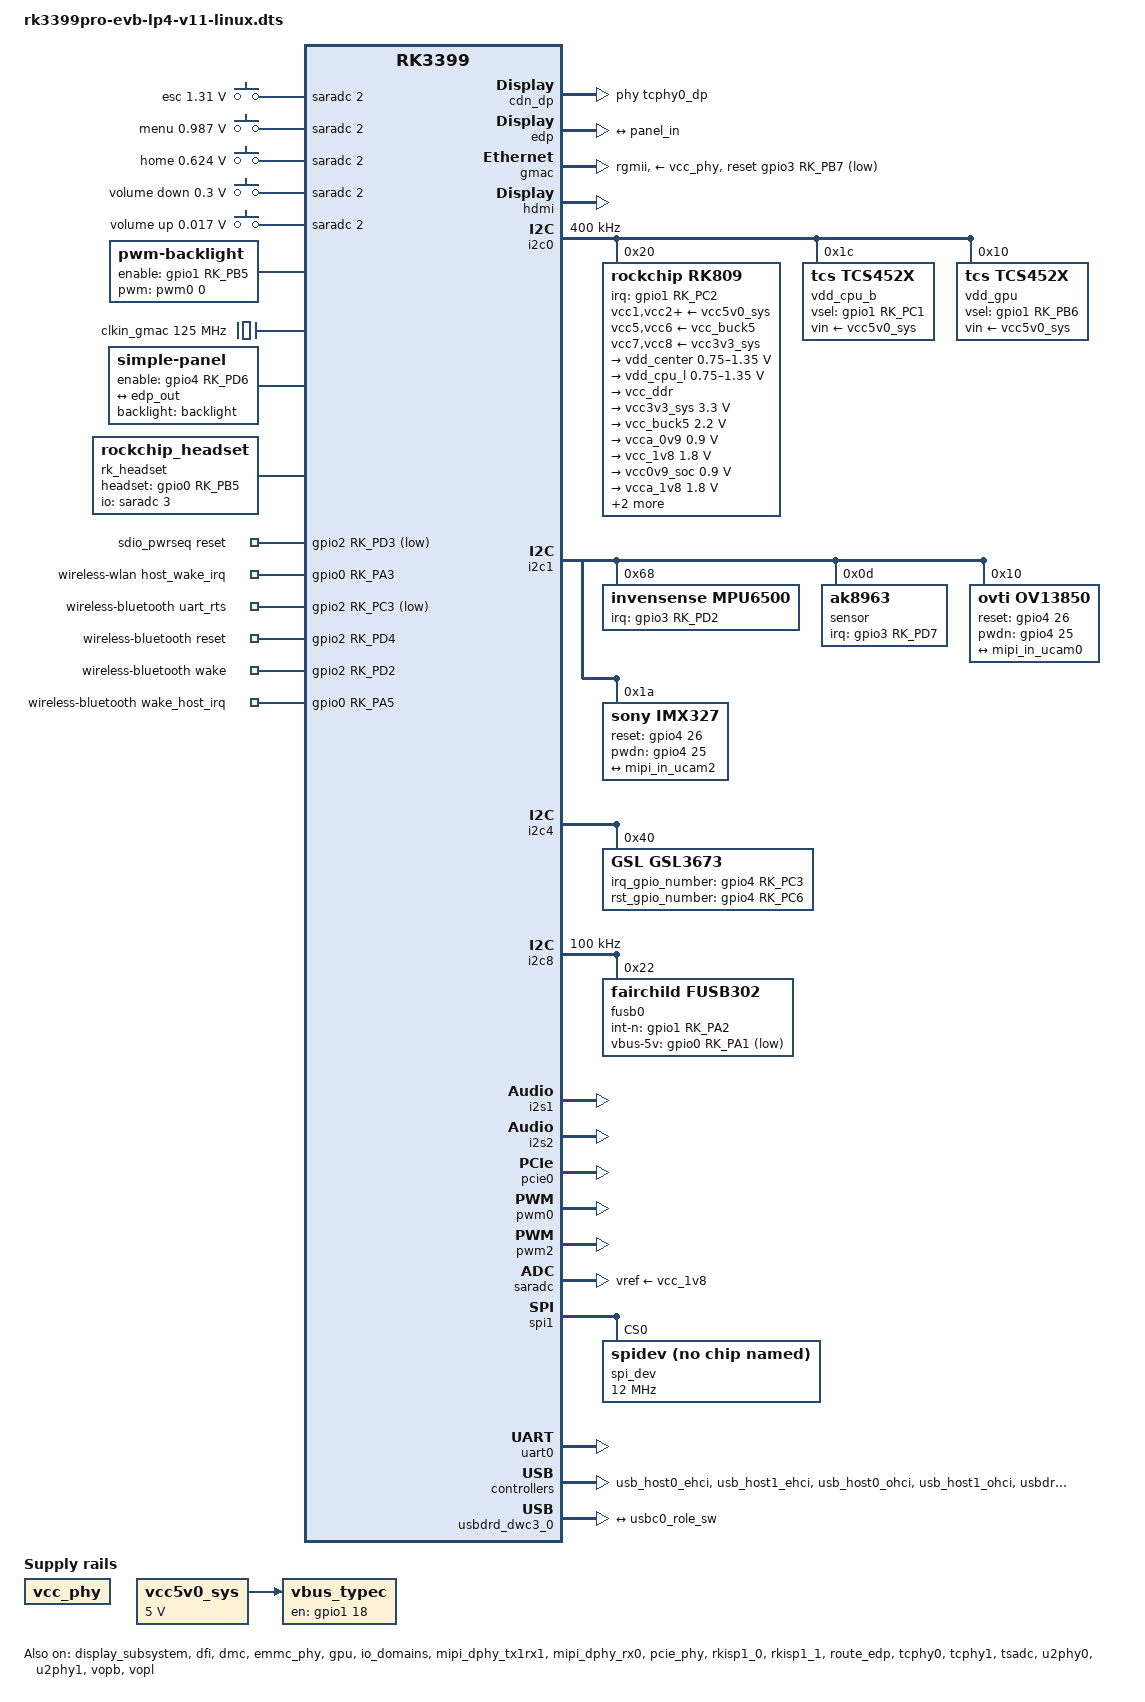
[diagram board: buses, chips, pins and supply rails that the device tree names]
// SPDX-License-Identifier: (GPL-2.0+ OR MIT)
// Copyright (c) 2020 Fuzhou Rockchip Electronics Co., Ltd

/dts-v1/;
#include <dt-bindings/gpio/gpio.h>
#include <dt-bindings/pinctrl/rockchip.h>
#include <dt-bindings/input/input.h>
#include <dt-bindings/display/drm_mipi_dsi.h>
#include <dt-bindings/sensor-dev.h>
#include <dt-bindings/pwm/pwm.h>
#include "dt-bindings/usb/pd.h"
#include "rk3399pro.dtsi"
#include "rk3399-linux.dtsi"
#include "rk3399-opp.dtsi"
#include "rk3399-vop-clk-set.dtsi"

/ {
	compatible = "rockchip,rk3399pro-evb-v11-linux", "rockchip,rk3399pro";

	adc-keys {
		compatible = "adc-keys";
		io-channels = <&saradc 2>;
		io-channel-names = "buttons";
		poll-interval = <100>;
		keyup-threshold-microvolt = <1800000>;

		esc-key {
			linux,code = <KEY_ESC>;
			label = "esc";
			press-threshold-microvolt = <1310000>;
		};

		menu-key {
			linux,code = <KEY_MENU>;
			label = "menu";
			press-threshold-microvolt = <987000>;
		};

		home-key {
			linux,code = <KEY_HOME>;
			label = "home";
			press-threshold-microvolt = <624000>;
		};

		vol-down-key {
			linux,code = <KEY_VOLUMEDOWN>;
			label = "volume down";
			press-threshold-microvolt = <300000>;
		};

		vol-up-key {
			linux,code = <KEY_VOLUMEUP>;
			label = "volume up";
			press-threshold-microvolt = <17000>;
		};
	};

	backlight: backlight {
		compatible = "pwm-backlight";
		pwms = <&pwm0 0 25000 0>;
		brightness-levels = <
			  0  20  20  21  21  22  22  23
			 23  24  24  25  25  26  26  27
			 27  28  28  29  29  30  30  31
			 31  32  32  33  33  34  34  35
			 35  36  36  37  37  38  38  39
			 40  41  42  43  44  45  46  47
			 48  49  50  51  52  53  54  55
			 56  57  58  59  60  61  62  63
			 64  65  66  67  68  69  70  71
			 72  73  74  75  76  77  78  79
			 80  81  82  83  84  85  86  87
			 88  89  90  91  92  93  94  95
			 96  97  98  99 100 101 102 103
			104 105 106 107 108 109 110 111
			112 113 114 115 116 117 118 119
			120 121 122 123 124 125 126 127
			128 129 130 131 132 133 134 135
			136 137 138 139 140 141 142 143
			144 145 146 147 148 149 150 151
			152 153 154 155 156 157 158 159
			160 161 162 163 164 165 166 167
			168 169 170 171 172 173 174 175
			176 177 178 179 180 181 182 183
			184 185 186 187 188 189 190 191
			192 193 194 195 196 197 198 199
			200 201 202 203 204 205 206 207
			208 209 210 211 212 213 214 215
			216 217 218 219 220 221 222 223
			224 225 226 227 228 229 230 231
			232 233 234 235 236 237 238 239
			240 241 242 243 244 245 246 247
			248 249 250 251 252 253 254 255
		>;
		default-brightness-level = <200>;
		enable-gpios = <&gpio1 RK_PB5 GPIO_ACTIVE_HIGH>;
	};

	clkin_gmac: external-gmac-clock {
		compatible = "fixed-clock";
		clock-frequency = <125000000>;
		clock-output-names = "clkin_gmac";
		#clock-cells = <0>;
	};

	fiq_debugger: fiq-debugger {
		compatible = "rockchip,fiq-debugger";
		rockchip,serial-id = <2>;
		rockchip,wake-irq = <0>;
		rockchip,irq-mode-enable = <0>;  /* If enable uart uses irq instead of fiq */
		rockchip,baudrate = <1500000>;  /* Only 115200 and 1500000 */
		pinctrl-names = "default";
		pinctrl-0 = <&uart2c_xfer>;
		interrupts = <GIC_SPI 150 IRQ_TYPE_LEVEL_HIGH 0>;
	};

	hdmi_sound: hdmi-sound {
		status = "okay";
		compatible = "simple-audio-card";
		simple-audio-card,format = "i2s";
		simple-audio-card,mclk-fs = <256>;
		simple-audio-card,name = "rockchip,hdmi";

		simple-audio-card,cpu {
			sound-dai = <&i2s2>;
		};
		simple-audio-card,codec {
			sound-dai = <&hdmi>;
		};
	};

	panel: panel {
		compatible = "simple-panel";
		backlight = <&backlight>;
		enable-gpios = <&gpio4 RK_PD6 GPIO_ACTIVE_HIGH>;
		prepare-delay-ms = <20>;
		enable-delay-ms = <20>;
		reset-delay-ms = <20>;

		display-timings {
			native-mode = <&timing0>;

			timing0: timing0 {
				clock-frequency = <200000000>;
				hactive = <1536>;
				vactive = <2048>;
				hfront-porch = <12>;
				hsync-len = <16>;
				hback-porch = <48>;
				vfront-porch = <8>;
				vsync-len = <4>;
				vback-porch = <8>;
				hsync-active = <0>;
				vsync-active = <0>;
				de-active = <0>;
				pixelclk-active = <0>;
			};
		};

		ports {
			panel_in: endpoint {
				remote-endpoint = <&edp_out>;
			};
		};
	};

	rk809_sound: rk809-sound {
		compatible = "rockchip,multicodecs-card";
		rockchip,card-name = "rockchip,rk809-codec";
		rockchip,codec-hp-det;
		rockchip,mclk-fs = <256>;
		rockchip,cpu = <&i2s1>;
		rockchip,codec = <&rk809_codec>;
	};

	rk_headset: rk-headset {
		compatible = "rockchip_headset";
		headset_gpio = <&gpio0 RK_PB5 GPIO_ACTIVE_HIGH>;
		pinctrl-names = "default";
		pinctrl-0 = <&hp_det>;
		io-channels = <&saradc 3>;
	};

	sdio_pwrseq: sdio-pwrseq {
		compatible = "mmc-pwrseq-simple";
		clocks = <&rk809 1>;
		clock-names = "ext_clock";
		pinctrl-names = "default";
		pinctrl-0 = <&wifi_enable_h>;

		/*
		 * On the module itself this is one of these (depending
		 * on the actual card populated):
		 * - SDIO_RESET_L_WL_REG_ON
		 * - PDN (power down when low)
		 */
		reset-gpios = <&gpio2 RK_PD3 GPIO_ACTIVE_LOW>;
	};

	usbacm_video_control: usbacm-video-control {
		compatible = "rockchip,usbacm-video-control";
		status = "disabled";
	};

	vcc_phy: vcc-phy-regulator {
		compatible = "regulator-fixed";
		regulator-name = "vcc_phy";
		regulator-always-on;
		regulator-boot-on;
	};

	vbus_typec: vbus-typec-regulator {
		compatible = "regulator-fixed";
		enable-active-high;
		gpio = <&gpio1 18 GPIO_ACTIVE_HIGH>;
		pinctrl-names = "default";
		pinctrl-0 = <&vcc5v0_typec0_en>;
		regulator-name = "vbus_typec";
		vin-supply = <&vcc5v0_sys>;
	};

	vcc5v0_sys: vccsys {
		compatible = "regulator-fixed";
		regulator-name = "vcc5v0_sys";
		regulator-always-on;
		regulator-boot-on;
		regulator-min-microvolt = <5000000>;
		regulator-max-microvolt = <5000000>;
	};

	wireless-wlan {
		compatible = "wlan-platdata";
		rockchip,grf = <&grf>;
		wifi_chip_type = "ap6398s";
		sdio_vref = <1800>;
		WIFI,host_wake_irq = <&gpio0 RK_PA3 GPIO_ACTIVE_HIGH>;
		status = "okay";
	};

	wireless-bluetooth {
		compatible = "bluetooth-platdata";
		clocks = <&rk809 1>;
		clock-names = "ext_clock";
		uart_rts_gpios = <&gpio2 RK_PC3 GPIO_ACTIVE_LOW>;
		pinctrl-names = "default", "rts_gpio";
		pinctrl-0 = <&uart0_rts>, <&bt_irq_gpio>;
		pinctrl-1 = <&uart0_gpios>;
		BT,reset_gpio    = <&gpio2 RK_PD4 GPIO_ACTIVE_HIGH>;
		BT,wake_gpio     = <&gpio2 RK_PD2 GPIO_ACTIVE_HIGH>;
		BT,wake_host_irq = <&gpio0 RK_PA5 GPIO_ACTIVE_HIGH>;
		status = "okay";
	};
};

&cdn_dp {
	status = "okay";
	phys = <&tcphy0_dp>;
};

&cpu_l0 {
	cpu-supply = <&vdd_cpu_l>;
};

&cpu_l1 {
	cpu-supply = <&vdd_cpu_l>;
};

&cpu_l2 {
	cpu-supply = <&vdd_cpu_l>;
};

&cpu_l3 {
	cpu-supply = <&vdd_cpu_l>;
};

&cpu_b0 {
	cpu-supply = <&vdd_cpu_b>;
};

&cpu_b1 {
	cpu-supply = <&vdd_cpu_b>;
};

&display_subsystem {
	status = "okay";
};

&dfi {
	status = "okay";
};

&dmc {
	status = "okay";
	center-supply = <&vdd_center>;
	upthreshold = <40>;
	downdifferential = <20>;
	system-status-freq = <
		/*system status         freq(KHz)*/
		SYS_STATUS_NORMAL       856000
		SYS_STATUS_REBOOT       856000
		SYS_STATUS_SUSPEND      328000
		SYS_STATUS_VIDEO_1080P  666000
		SYS_STATUS_VIDEO_4K     856000
		SYS_STATUS_VIDEO_4K_10B 856000
		SYS_STATUS_PERFORMANCE  856000
		SYS_STATUS_BOOST        856000
		SYS_STATUS_DUALVIEW     856000
		SYS_STATUS_ISP          856000
	>;
	vop-bw-dmc-freq = <
	/* min_bw(MB/s) max_bw(MB/s) freq(KHz) */
		0       762      416000
		763     3012     666000
		3013    99999    856000
	>;

	vop-pn-msch-readlatency = <
		0	0x20
		4	0x20
	>;

	auto-min-freq = <328000>;
	auto-freq-en = <0>;
};

&dmc_opp_table {
		compatible = "operating-points-v2";

		opp-200000000 {
			opp-hz = /bits/ 64 <200000000>;
			opp-microvolt = <900000>;
			status = "disabled";
		};
		opp-300000000 {
			opp-hz = /bits/ 64 <300000000>;
			opp-microvolt = <900000>;
			status = "disabled";
		};
		opp-328000000 {
			opp-hz = /bits/ 64 <328000000>;
			opp-microvolt = <900000>;
		};
		opp-400000000 {
			opp-hz = /bits/ 64 <400000000>;
			opp-microvolt = <900000>;
			status = "disabled";
		};
		opp-416000000 {
			opp-hz = /bits/ 64 <416000000>;
			opp-microvolt = <900000>;
		};
		opp-528000000 {
			opp-hz = /bits/ 64 <528000000>;
			opp-microvolt = <900000>;
			status = "disabled";
		};
		opp-600000000 {
			opp-hz = /bits/ 64 <600000000>;
			opp-microvolt = <900000>;
			status = "disabled";
		};
		opp-666000000 {
			opp-hz = /bits/ 64 <666000000>;
			opp-microvolt = <900000>;
		};
		opp-800000000 {
			opp-hz = /bits/ 64 <800000000>;
			opp-microvolt = <900000>;
			status = "disabled";
		};
		opp-856000000 {
			opp-hz = /bits/ 64 <856000000>;
			opp-microvolt = <900000>;
		};
		opp-928000000 {
			opp-hz = /bits/ 64 <928000000>;
			opp-microvolt = <900000>;
			status = "disabled";
		};
};

&dp_in_vopb {
	status = "disabled";
};

&edp {
	status = "okay";
	force-hpd;

	ports {
		port@1 {
			reg = <1>;

			edp_out: endpoint {
				remote-endpoint = <&panel_in>;
			};
		};
	};
};

&edp_in_vopb {
	status = "disabled";
};

&emmc_phy {
	status = "okay";
};

&fiq_debugger {
	pinctrl-0 = <&uart2a_xfer>;
};

&gmac {
	phy-supply = <&vcc_phy>;
	phy-mode = "rgmii";
	clock_in_out = "input";
	snps,reset-gpio = <&gpio3 RK_PB7 GPIO_ACTIVE_LOW>;
	snps,reset-active-low;
	snps,reset-delays-us = <0 10000 50000>;
	assigned-clocks = <&cru SCLK_RMII_SRC>;
	assigned-clock-parents = <&clkin_gmac>;
	pinctrl-names = "default";
	pinctrl-0 = <&rgmii_pins>;
	tx_delay = <0x28>;
	rx_delay = <0x11>;
	status = "okay";
};

&gpu {
	status = "okay";
	mali-supply = <&vdd_gpu>;
};

&hdmi {
	status = "okay";
	#sound-dai-cells = <0>;
	rockchip,phy-table =
		<74250000  0x8009 0x0004 0x0272>,
		<165000000 0x802b 0x0004 0x0209>,
		<297000000 0x8039 0x0005 0x028d>,
		<594000000 0x8039 0x0000 0x00f6>,
		<000000000 0x0000 0x0000 0x0000>;
};

&hdmi_in_vopl {
	status = "disabled";
};

&i2c0 {
	status = "okay";
	i2c-scl-rising-time-ns = <180>;
	i2c-scl-falling-time-ns = <30>;
	clock-frequency = <400000>;

	rk809: pmic@20 {
		compatible = "rockchip,rk809";
		reg = <0x20>;
		interrupt-parent = <&gpio1>;
		interrupts = <RK_PC2 IRQ_TYPE_LEVEL_LOW>;
		pinctrl-names = "default", "pmic-sleep",
				"pmic-power-off", "pmic-reset";
		pinctrl-0 = <&pmic_int_l>;
		pinctrl-1 = <&soc_slppin_slp>, <&rk809_slppin_slp>;
		pinctrl-2 = <&soc_slppin_gpio>, <&rk809_slppin_pwrdn>;
		pinctrl-3 = <&soc_slppin_gpio>, <&rk809_slppin_null>;
		rockchip,system-power-controller;
		pmic-reset-func = <0>;
		wakeup-source;
		#clock-cells = <1>;
		clock-output-names = "rk808-clkout1", "rk808-clkout2";

		vcc1-supply = <&vcc5v0_sys>;
		vcc2-supply = <&vcc5v0_sys>;
		vcc3-supply = <&vcc5v0_sys>;
		vcc4-supply = <&vcc5v0_sys>;
		vcc5-supply = <&vcc_buck5>;
		vcc6-supply = <&vcc_buck5>;
		vcc7-supply = <&vcc3v3_sys>;
		vcc8-supply = <&vcc3v3_sys>;
		vcc9-supply = <&vcc5v0_sys>;

		pwrkey {
			status = "okay";
		};

		rtc {
			status = "okay";
		};

		pinctrl_rk8xx: pinctrl_rk8xx {
			gpio-controller;
			#gpio-cells = <2>;

			rk809_slppin_null: rk809_slppin_null {
				pins = "gpio_slp";
				function = "pin_fun0";
			};

			rk809_slppin_slp: rk809_slppin_slp {
				pins = "gpio_slp";
				function = "pin_fun1";
			};

			rk809_slppin_pwrdn: rk809_slppin_pwrdn {
				pins = "gpio_slp";
				function = "pin_fun2";
			};

			rk809_slppin_rst: rk809_slppin_rst {
				pins = "gpio_slp";
				function = "pin_fun3";
			};
		};

		regulators {
			vdd_center: DCDC_REG1 {
				regulator-always-on;
				regulator-boot-on;
				regulator-min-microvolt = <750000>;
				regulator-max-microvolt = <1350000>;
				regulator-initial-mode = <0x2>;
				regulator-name = "vdd_center";
				regulator-state-mem {
					regulator-off-in-suspend;
					regulator-suspend-microvolt = <900000>;
				};
			};

			vdd_cpu_l: DCDC_REG2 {
				regulator-always-on;
				regulator-boot-on;
				regulator-min-microvolt = <750000>;
				regulator-max-microvolt = <1350000>;
				regulator-ramp-delay = <6001>;
				regulator-initial-mode = <0x2>;
				regulator-name = "vdd_cpu_l";
				regulator-state-mem {
					regulator-off-in-suspend;
				};
			};

			vcc_ddr: DCDC_REG3 {
				regulator-always-on;
				regulator-boot-on;
				regulator-name = "vcc_ddr";
				regulator-initial-mode = <0x2>;
				regulator-state-mem {
					regulator-on-in-suspend;
				};
			};

			vcc3v3_sys: DCDC_REG4 {
				regulator-always-on;
				regulator-boot-on;
				regulator-min-microvolt = <3300000>;
				regulator-max-microvolt = <3300000>;
				regulator-initial-mode = <0x2>;
				regulator-name = "vcc3v3_sys";
				regulator-state-mem {
					regulator-on-in-suspend;
					regulator-suspend-microvolt = <3300000>;
				};
			};

			vcc_buck5: DCDC_REG5 {
				regulator-always-on;
				regulator-boot-on;
				regulator-min-microvolt = <2200000>;
				regulator-max-microvolt = <2200000>;
				regulator-name = "vcc_buck5";
				regulator-state-mem {
					regulator-on-in-suspend;
					regulator-suspend-microvolt = <2200000>;
				};
			};

			vcca_0v9: LDO_REG1 {
				regulator-always-on;
				regulator-boot-on;
				regulator-min-microvolt = <900000>;
				regulator-max-microvolt = <900000>;
				regulator-name = "vcca_0v9";
				regulator-state-mem {
					regulator-off-in-suspend;
				};
			};

			vcc_1v8: LDO_REG2 {
				regulator-always-on;
				regulator-boot-on;
				regulator-min-microvolt = <1800000>;
				regulator-max-microvolt = <1800000>;

				regulator-name = "vcc_1v8";
				regulator-state-mem {
					regulator-on-in-suspend;
					regulator-suspend-microvolt = <1800000>;
				};
			};

			vcc0v9_soc: LDO_REG3 {
				regulator-always-on;
				regulator-boot-on;
				regulator-min-microvolt = <900000>;
				regulator-max-microvolt = <900000>;

				regulator-name = "vcc0v9_soc";
				regulator-state-mem {
					regulator-on-in-suspend;
					regulator-suspend-microvolt = <900000>;
				};
			};

			vcca_1v8: LDO_REG4 {
				regulator-always-on;
				regulator-boot-on;
				regulator-min-microvolt = <1800000>;
				regulator-max-microvolt = <1800000>;

				regulator-name = "vcca_1v8";
				regulator-state-mem {
					regulator-off-in-suspend;
				};
			};

			vdd1v5_dvp: LDO_REG5 {
				regulator-always-on;
				regulator-boot-on;
				regulator-min-microvolt = <1500000>;
				regulator-max-microvolt = <1500000>;

				regulator-name = "vdd1v5_dvp";
				regulator-state-mem {
					regulator-off-in-suspend;
				};
			};

			vcc_1v5: LDO_REG6 {
				regulator-always-on;
				regulator-boot-on;
				regulator-min-microvolt = <1500000>;
				regulator-max-microvolt = <1500000>;

				regulator-name = "vcc_1v5";
				regulator-state-mem {
					regulator-off-in-suspend;
				};
			};

			vcc_3v0: LDO_REG7 {
				regulator-always-on;
				regulator-boot-on;
				regulator-min-microvolt = <3000000>;
				regulator-max-microvolt = <3000000>;

				regulator-name = "vcc_3v0";
				regulator-state-mem {
					regulator-off-in-suspend;
				};
			};

			vccio_sd: LDO_REG8 {
				regulator-always-on;
				regulator-boot-on;
				regulator-min-microvolt = <1800000>;
				regulator-max-microvolt = <3300000>;

				regulator-name = "vccio_sd";
				regulator-state-mem {
					regulator-off-in-suspend;
				};
			};

			vcc_sd: LDO_REG9 {
				regulator-always-on;
				regulator-boot-on;
				regulator-min-microvolt = <3300000>;
				regulator-max-microvolt = <3300000>;

				regulator-name = "vcc_sd";
				regulator-state-mem {
					regulator-off-in-suspend;
				};
			};

			vcc5v0_usb: SWITCH_REG1 {
				regulator-name = "vcc5v0_usb";
				regulator-state-mem {
					regulator-on-in-suspend;
				};
			};

			vccio_3v3: SWITCH_REG2 {
				regulator-always-on;
				regulator-boot-on;
				regulator-name = "vccio_3v3";
				regulator-state-mem {
					regulator-off-in-suspend;
				};
			};
		};

		rk809_codec: codec {
			#sound-dai-cells = <0>;
			compatible = "rockchip,rk809-codec", "rockchip,rk817-codec";
			clocks = <&cru SCLK_I2S_8CH_OUT>;
			clock-names = "mclk";
			pinctrl-names = "default";
			pinctrl-0 = <&i2s_8ch_mclk>;
			hp-volume = <20>;
			spk-volume = <3>;
			status = "okay";
		};
	};

	vdd_cpu_b: tcs452x@1c {
		compatible = "tcs,tcs452x";
		reg = <0x1c>;
		vin-supply = <&vcc5v0_sys>;
		regulator-compatible = "fan53555-reg";
		pinctrl-0 = <&vsel1_gpio>;
		vsel-gpios = <&gpio1 RK_PC1 GPIO_ACTIVE_HIGH>;
		regulator-name = "vdd_cpu_b";
		regulator-min-microvolt = <712500>;
		regulator-max-microvolt = <1500000>;
		regulator-ramp-delay = <2300>;
		fcs,suspend-voltage-selector = <1>;
		regulator-always-on;
		regulator-boot-on;
		regulator-initial-state = <3>;
		regulator-state-mem {
			regulator-off-in-suspend;
		};
	};

	vdd_gpu: tcs452x@10 {
		compatible = "tcs,tcs452x";
		reg = <0x10>;
		vin-supply = <&vcc5v0_sys>;
		regulator-compatible = "fan53555-reg";
		pinctrl-0 = <&vsel2_gpio>;
		vsel-gpios = <&gpio1 RK_PB6 GPIO_ACTIVE_HIGH>;
		regulator-name = "vdd_gpu";
		regulator-min-microvolt = <735000>;
		regulator-max-microvolt = <1400000>;
		regulator-ramp-delay = <1000>;
		fcs,suspend-voltage-selector = <1>;
		regulator-always-on;
		regulator-boot-on;
		regulator-initial-state = <3>;
		regulator-state-mem {
			regulator-off-in-suspend;
		};
	};

	bq25700: bq25700@6b {
		compatible = "ti,bq25703";
		reg = <0x6b>;
		interrupt-parent = <&gpio1>;
		interrupts = <RK_PA1 IRQ_TYPE_LEVEL_LOW>;
		pinctrl-names = "default";
		pinctrl-0 = <&charger_ok_int>;
		ti,charge-current = <1500000>;
		ti,max-charge-voltage = <8704000>;
		ti,max-input-voltage = <20000000>;
		ti,max-input-current = <6000000>;
		ti,input-current-sdp = <500000>;
		ti,input-current-dcp = <2000000>;
		ti,input-current-cdp = <2000000>;
		ti,input-current-dc = <2000000>;
		ti,minimum-sys-voltage = <6700000>;
		ti,otg-voltage = <5000000>;
		ti,otg-current = <500000>;
		ti,input-current = <500000>;
		pd-charge-only = <0>;
		status = "disabled";
	};
};

&i2c1 {
	status = "okay";
	i2c-scl-rising-time-ns = <140>;
	i2c-scl-falling-time-ns = <30>;

	mpu6500@68 {
		status = "okay";
		compatible = "invensense,mpu6500";
		reg = <0x68>;
		irq-gpio = <&gpio3 RK_PD2 IRQ_TYPE_EDGE_RISING>;
		mpu-int_config = <0x10>;
		mpu-level_shifter = <0>;
		mpu-orientation = <0 1 0 1 0 0 0 0 1>;
		orientation-x= <1>;
		orientation-y= <0>;
		orientation-z= <0>;
		mpu-debug = <1>;
	};

	sensor@d {
		status = "okay";
		compatible = "ak8963";
		reg = <0x0d>;
		type = <SENSOR_TYPE_COMPASS>;
		irq-gpio = <&gpio3 RK_PD7 IRQ_TYPE_EDGE_RISING>;
		irq_enable = <0>;
		poll_delay_ms = <30>;
		layout = <3>;
	};

	ov13850: ov13850@10 {
		compatible = "ovti,ov13850";
		status = "okay";
		reg = <0x10>;
		clocks = <&cru SCLK_CIF_OUT>;
		clock-names = "xvclk";

		/* conflict with csi-ctl-gpios */
		reset-gpios = <&gpio4 26 GPIO_ACTIVE_HIGH>;
		pwdn-gpios = <&gpio4 25 GPIO_ACTIVE_HIGH>;
		pinctrl-names = "rockchip,camera_default";
		pinctrl-0 = <&cif_clkout>;

		port {
			ucam_out0: endpoint {
				remote-endpoint = <&mipi_in_ucam0>;
				data-lanes = <1 2>;
			};
		};
	};

	imx327: imx327@1a {
		compatible = "sony,imx327";
		status = "okay";
		reg = <0x1a>;
		clocks = <&cru SCLK_CIF_OUT>;
		clock-names = "xvclk";
		/* conflict with csi-ctl-gpios */
		reset-gpios = <&gpio4 26 GPIO_ACTIVE_HIGH>;
		pwdn-gpios = <&gpio4 25 GPIO_ACTIVE_HIGH>;
		pinctrl-names = "default";
		pinctrl-0 = <&cif_clkout>;
		rockchip,camera-module-index = <0>;
		rockchip,camera-module-facing = "back";
		rockchip,camera-module-name = "TongJu";
		rockchip,camera-module-lens-name = "CHT842-MD";
		port {
			ucam_out2: endpoint {
				remote-endpoint = <&mipi_in_ucam2>;
				data-lanes = <1 2>;
			};
		};
	};

};

&i2c4 {
	status = "okay";
	i2c-scl-rising-time-ns = <345>;
	i2c-scl-falling-time-ns = <11>;

	gsl3673: gsl3673@40 {
		compatible = "GSL,GSL3673";
		reg = <0x40>;
		screen_max_x = <1536>;
		screen_max_y = <2048>;
		irq_gpio_number = <&gpio4 RK_PC3 IRQ_TYPE_LEVEL_LOW>;
		rst_gpio_number = <&gpio4 RK_PC6 GPIO_ACTIVE_HIGH>;
	};
};

&i2c8 {
	status = "okay";
	i2c-scl-rising-time-ns = <345>;
	i2c-scl-falling-time-ns = <11>;
	clock-frequency = <100000>;

	fusb0: fusb30x@22 {
		compatible = "fairchild,fusb302";
		reg = <0x22>;
		pinctrl-names = "default";
		pinctrl-0 = <&fusb0_int>;
		int-n-gpios = <&gpio1 RK_PA2 GPIO_ACTIVE_HIGH>;
		vbus-5v-gpios = <&gpio0 RK_PA1 GPIO_ACTIVE_LOW>;
		status = "okay";
	};

};

&i2s1 {
	status = "okay";
	#sound-dai-cells = <0>;
};

&i2s2 {
	#sound-dai-cells = <0>;
	status = "okay";
};

&io_domains {
	status = "okay";
	bt656-supply = <&vcca_1v8>;
	audio-supply = <&vcca_1v8>;
	sdmmc-supply = <&vccio_sd>;
	gpio1830-supply = <&vcc_3v0>;
};

&isp0_mmu {
	status = "okay";
};

&isp1_mmu {
	status = "okay";
};

&mipi_dphy_tx1rx1 {
	status = "okay";

	ports {
		#address-cells = <1>;
		#size-cells = <0>;

		port@0 {
			reg = <0>;
			#address-cells = <1>;
			#size-cells = <0>;

			mipi_in_ucam1: endpoint@1 {
				reg = <1>;
				/* Unlinked camera */
				//remote-endpoint = <&ucam_out1>;
				data-lanes = <1 2>;
			};
		};

		port@1 {
			reg = <1>;
			#address-cells = <1>;
			#size-cells = <0>;

			dphy_tx1rx1_out: endpoint@0 {
				reg = <0>;
				remote-endpoint = <&isp1_mipi_in>;
			};
		};
	};
};

&mipi_dphy_rx0 {
	status = "okay";

	ports {
		#address-cells = <1>;
		#size-cells = <0>;

		port@0 {
			reg = <0>;
			#address-cells = <1>;
			#size-cells = <0>;

			mipi_in_ucam0: endpoint@1 {
				reg = <1>;
				remote-endpoint = <&ucam_out0>;
				data-lanes = <1 2>;
			};
			mipi_in_ucam2: endpoint@2 {
				reg = <2>;
				remote-endpoint = <&ucam_out2>;
				data-lanes = <1 2>;
			};
		};

		port@1 {
			reg = <1>;
			#address-cells = <1>;
			#size-cells = <0>;

			dphy_rx0_out: endpoint@0 {
				reg = <0>;
				remote-endpoint = <&isp0_mipi_in>;
			};
		};
	};
};

&pcie_phy {
	status = "okay";
};

&pcie0 {
	status = "okay";
};

&pmu_io_domains {
	status = "okay";
	pmu1830-supply = <&vcc_1v8>;
};

&pwm0 {
	status = "okay";
};

&pwm2 {
	status = "okay";
};

&rkisp1_0 {
	status = "okay";
	assigned-clocks = <&cru PLL_NPLL>, <&cru SCLK_CIF_OUT_SRC>, <&cru SCLK_CIF_OUT>;
	assigned-clock-rates = <594000000>, <594000000>, <37125000>;
	port {
		#address-cells = <1>;
		#size-cells = <0>;

		isp0_mipi_in: endpoint@0 {
			reg = <0>;
			remote-endpoint = <&dphy_rx0_out>;
		};
	};
};

&rkisp1_1 {
	status = "okay";

	port {
		#address-cells = <1>;
		#size-cells = <0>;

		isp1_mipi_in: endpoint@0 {
			reg = <0>;
			remote-endpoint = <&dphy_tx1rx1_out>;
		};
	};
};

&rockchip_suspend {
	status = "okay";
	rockchip,sleep-debug-en = <1>;
	rockchip,sleep-mode-config = <
		(0
		| RKPM_SLP_ARMPD
		| RKPM_SLP_PERILPPD
		| RKPM_SLP_DDR_RET
		| RKPM_SLP_PLLPD
		| RKPM_SLP_CENTER_PD
		| RKPM_SLP_OSC_DIS
		| RKPM_SLP_AP_PWROFF
		)
	>;
	rockchip,wakeup-config = <RKPM_GPIO_WKUP_EN>;
	rockchip,pwm-regulator-config = <PWM2_REGULATOR_EN>;
	rockchip,power-ctrl =
		<&gpio1 RK_PC1 GPIO_ACTIVE_HIGH>,
		<&gpio1 RK_PB6 GPIO_ACTIVE_HIGH>;
};

&route_edp {
	status = "okay";
};

&saradc {
	status = "okay";
	vref-supply = <&vcc_1v8>;
};

&sdmmc {
	sd-uhs-sdr12;
	sd-uhs-sdr25;
	sd-uhs-sdr50;
	sd-uhs-sdr104;
};

&spi1 {
	status = "okay";
	max-freq = <48000000>; /* spi internal clk, don't modify */
	spi_dev@0 {
		compatible = "rockchip,spidev";
		reg = <0>;
		spi-max-frequency = <12000000>;
		spi-lsb-first;
	};
};

&tcphy0 {
	status = "okay";
	orientation-switch;
	port {
		#address-cells = <1>;
		#size-cells = <0>;
		tcphy0_orientation_switch: endpoint@0 {
			reg = <0>;
			remote-endpoint = <&usbc0_orien_sw>;
		};
	};
};

&tcphy1 {
	status = "okay";
};

&tsadc {
	rockchip,hw-tshut-mode = <1>; /* tshut mode 0:CRU 1:GPIO */
	rockchip,hw-tshut-polarity = <1>; /* tshut polarity 0:LOW 1:HIGH */
	status = "okay";
};

&u2phy0 {
	status = "okay";
	extcon = <&fusb0>;

	u2phy0_otg: otg-port {
		status = "okay";
	};

	u2phy0_host: host-port {
		phy-supply = <&vcc5v0_usb>;
		status = "okay";
	};
};

&u2phy1 {
	status = "okay";

	u2phy1_otg: otg-port {
		status = "okay";
	};

	u2phy1_host: host-port {
		phy-supply = <&vcc5v0_usb>;
		status = "okay";
	};
};

&uart0 {
	pinctrl-names = "default";
	pinctrl-0 = <&uart0_xfer &uart0_cts>;
	status = "okay";
};

&usb_host0_ehci {
	status = "okay";
};

&usb_host1_ehci {
	status = "okay";
};
&usb_host0_ohci {
	status = "okay";
};

&usb_host1_ohci {
	status = "okay";
};

&usbdrd3_0 {
	status = "okay";
};

&usbdrd3_1 {
	status = "okay";
};

&usbdrd_dwc3_0 {
	status = "okay";
	usb-role-switch;
	port {
		#address-cells = <1>;
		#size-cells = <0>;
		dwc3_0_role_switch: endpoint@0 {
			reg = <0>;
			remote-endpoint = <&usbc0_role_sw>;
		};
	};
};

&usbdrd_dwc3_1 {
	status = "okay";
};

&vopb {
	status = "okay";
};

&vopb_mmu {
	status = "okay";
};

&vopl {
	status = "okay";
};

&vopl_mmu {
	status = "okay";
};

&pinctrl {
	pinctrl-names = "default";
	pinctrl-0 = <&npu_ref_clk>;

	bq2570 {
		charger_ok_int: charger-ok-int {
			rockchip,pins =
				<1 RK_PA1 RK_FUNC_GPIO &pcfg_pull_up>;
			};
	};

	headphone {
		hp_det: hp-det {
			rockchip,pins =
				<0 RK_PB5 RK_FUNC_GPIO &pcfg_pull_up>;
		};
	};

	lcd_rst {
		lcd_rst_gpio: lcd-rst-gpio {
			rockchip,pins =
				<3 RK_PA4 RK_FUNC_GPIO &pcfg_pull_none>;
		};
	};

	npu_clk {
		npu_ref_clk: npu-ref-clk {
		     rockchip,pins =
			     <0 RK_PA2 1 &pcfg_pull_none>;
	     };
	};

	pmic {
		pmic_int_l: pmic-int-l {
			rockchip,pins =
				<1 RK_PC2 RK_FUNC_GPIO &pcfg_pull_up>;
		};
		vsel1_gpio: vsel1-gpio {
			rockchip,pins =
				<1 RK_PC1 RK_FUNC_GPIO &pcfg_pull_down>;
		};
		vsel2_gpio: vsel2-gpio {
			rockchip,pins =
				<1 RK_PB6 RK_FUNC_GPIO &pcfg_pull_down>;
		};

		soc_slppin_gpio: soc-slppin-gpio {
			rockchip,pins =
				<1 RK_PA5 RK_FUNC_GPIO &pcfg_output_low>;
		};

		soc_slppin_slp: soc-slppin-slp {
			rockchip,pins =
				<1 RK_PA5 1 &pcfg_pull_down>;
		};

		soc_slppin_rst: soc-slppin-rst {
			rockchip,pins =
				<1 RK_PA5 2 &pcfg_pull_none>;
		};
	};

	sdio-pwrseq {
		wifi_enable_h: wifi-enable-h {
			rockchip,pins =
				<2 RK_PD3 RK_FUNC_GPIO &pcfg_pull_none>;
		};
	};

	sdmmc {
		sdmmc_bus1: sdmmc-bus1 {
			rockchip,pins =
				<4 RK_PB0 1 &pcfg_pull_up_10ma>;
		};

		sdmmc_bus4: sdmmc-bus4 {
			rockchip,pins =
				<4 RK_PB0 1 &pcfg_pull_up_10ma>,
				<4 RK_PB1 1 &pcfg_pull_up_10ma>,
				<4 RK_PB2 1 &pcfg_pull_up_10ma>,
				<4 RK_PB3 1 &pcfg_pull_up_10ma>;
		};

		sdmmc_clk: sdmmc-clk {
			rockchip,pins =
				<4 RK_PB4 1 &pcfg_pull_none_10ma>;
		};

		sdmmc_cmd: sdmmc-cmd {
			rockchip,pins =
				<4 RK_PB5 1 &pcfg_pull_up_10ma>;
		};
	};

	tp_irq {
		tp_irq_gpio: tp-irq-gpio {
			rockchip,pins =
				<3 RK_PB0 RK_FUNC_GPIO &pcfg_pull_up>;
		};
	};

	usb-typec {
		usbc0_int: usbc0-int {
			rockchip,pins = <1 RK_PA2 RK_FUNC_GPIO &pcfg_pull_up>;
		};

	vcc5v0_typec0_en: vcc5v0-typec0-en {
		rockchip,pins = <1 RK_PC2 RK_FUNC_GPIO &pcfg_pull_none>;
		};
	};

	wireless-bluetooth {
		bt_irq_gpio: bt-irq-gpio {
			rockchip,pins =
				<0 RK_PA5 RK_FUNC_GPIO &pcfg_pull_down>;
		};

		uart0_gpios: uart0-gpios {
			rockchip,pins =
				<2 RK_PC3 RK_FUNC_GPIO &pcfg_pull_none>;
		};
	};
};

/* DON'T PUT ANYTHING BELOW HERE.  PUT IT ABOVE PINCTRL */
/* DON'T PUT ANYTHING BELOW HERE.  PUT IT ABOVE PINCTRL */
/* DON'T PUT ANYTHING BELOW HERE.  PUT IT ABOVE PINCTRL */
